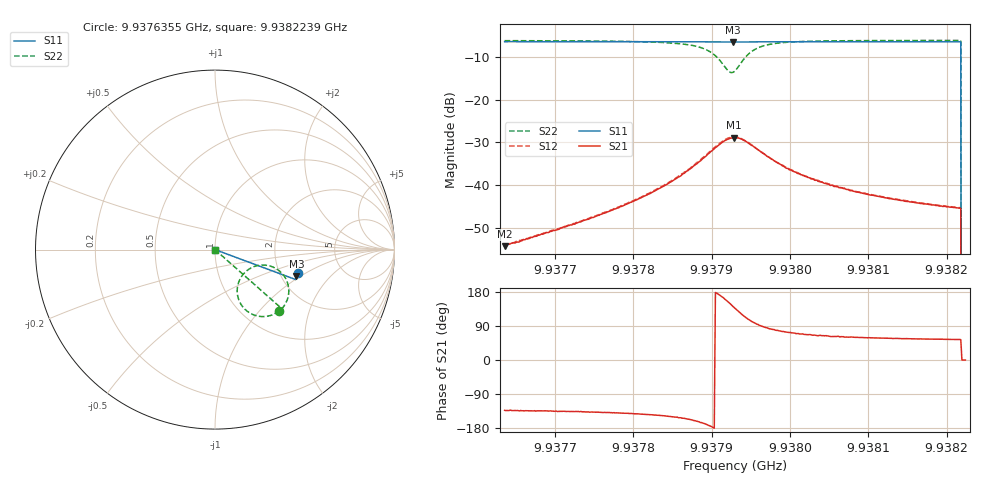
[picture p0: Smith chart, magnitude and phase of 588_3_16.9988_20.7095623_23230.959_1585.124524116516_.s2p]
#  HZ  S  RI  R  50.00
! Rohde & Schwarz Vector Network Analyzer
! Rohde-Schwarz,ZNB20-2Port,1311601062101988,3.16
! Created: UTC 3/20/2024, 11:18:25 PM
! freq[Hz]  re:S11  im:S11  re:S21  im:S21  re:S12  im:S12  re:S22  im:S22
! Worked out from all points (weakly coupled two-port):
!   401 points, 9.9376355 GHz to 9.9382239 GHz, reference 50 ohm
!   highest |S21| = -28.87 dB at 9.9379282 GHz (marker M1); lowest = -54.4 dB at 9.9376355 GHz (marker M2)
!   lowest |S11| = -6.4 dB at 9.9379268 GHz (marker M3), VSWR 2.82, Z = 121 - j45.9 ohm
!   |S11| at or under -10 dB: 9.938218 GHz to end of sweep
!   |S22| runs from - to -6.1 dB; largest |S21 - S12| = 0.0017
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9.93763554e9  0.4641 -0.1303  -0.0013 -0.00141  -0.00136 -0.0014  0.3586 -0.341
9.93773408e9  0.4618 -0.1372  -0.00272 -0.00259  -0.00278 -0.00258  0.3411 -0.3531
9.93778409e9  0.4604 -0.1405  -0.00428 -0.00358  -0.00441 -0.00361  0.3247 -0.3613
9.93783262e9  0.4588 -0.1439  -0.00754 -0.00508  -0.00773 -0.00507  0.2946 -0.3707
9.93786204e9  0.4576 -0.1459  -0.0118 -0.00588  -0.0122 -0.00589  0.2576 -0.3729
9.93788998e9  0.4559 -0.1479  -0.0204 -0.00454  -0.021 -0.00428  0.1892 -0.3503
9.93790175e9  0.4548 -0.1483  -0.0258 -0.000955  -0.0268 -0.000275  0.1497 -0.3122
9.93791352e9  0.4538 -0.1482  -0.0308 0.00766  -0.0314 0.00875  0.1237 -0.2368
9.93792087e9  0.4533 -0.1476  -0.0309 0.0154  -0.0313 0.017  0.1352 -0.1734
9.93792675e9  0.4534 -0.1472  -0.0283 0.0221  -0.0281 0.0236  0.1672 -0.1265
9.93792823e9  0.4534 -0.1471  -0.0274 0.0234  -0.0268 0.0248  0.1777 -0.1173
9.9379297e9  0.4535 -0.1471  -0.0261 0.0248  -0.0256 0.0262  0.1897 -0.1086
9.93793705e9  0.4541 -0.1468  -0.0188 0.0292  -0.0181 0.0303  0.2543 -0.0864
9.93794735e9  0.455 -0.1471  -0.0089 0.0295  -0.00789 0.0302  0.3319 -0.1013
9.93796205e9  0.4557 -0.1485  -0.000282 0.0247  0.000408 0.025  0.3891 -0.1534
9.93799735e9  0.4557 -0.1517  0.00465 0.0149  0.00508 0.0149  0.4108 -0.2385
9.93802824e9  0.455 -0.1543  0.00494 0.0108  0.00499 0.0107  0.4048 -0.2727
9.93807825e9  0.4537 -0.1579  0.0042 0.0075  0.00444 0.00748  0.3935 -0.2998
9.93812678e9  0.4525 -0.1612  0.00374 0.00582  0.00391 0.00587  0.3848 -0.3139
9.93821503e9  0.4499 -0.1669  0.00314 0.00434  0.00326 0.00434  0.3733 -0.329
9.93822239e9  0 0  0 0  0 0  0 0
9.93822386e9  0 0  0 0  0 0  0 0
